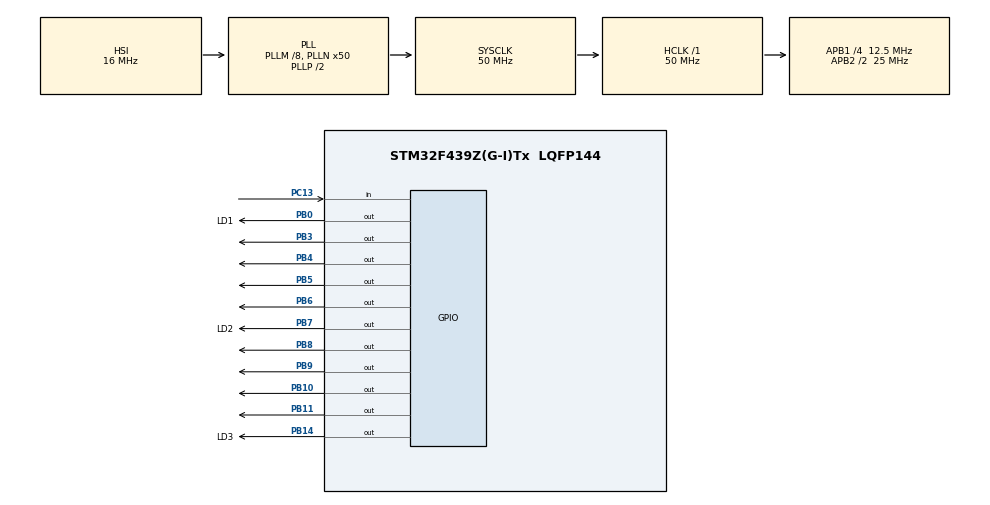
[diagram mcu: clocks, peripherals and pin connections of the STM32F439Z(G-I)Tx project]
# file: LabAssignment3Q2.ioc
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Mcu.Family=STM32F4
Mcu.Name=STM32F439Z(G-I)Tx
Mcu.Package=LQFP144
NVIC.PriorityGroup=NVIC_PRIORITYGROUP_4
PB0.GPIO_Label=LD1
PB0.Signal=GPIO_Output
PB10.Signal=GPIO_Output
PB11.Signal=GPIO_Output
PB14.GPIO_Label=LD3
PB14.Signal=GPIO_Output
PB3.Signal=GPIO_Output
PB4.Signal=GPIO_Output
PB5.Signal=GPIO_Output
PB6.Signal=GPIO_Output
PB7.GPIO_Label=LD2
PB7.Signal=GPIO_Output
PB8.Signal=GPIO_Output
PB9.Signal=GPIO_Output
PC13.GPIO_PuPd=GPIO_PULLDOWN
PC13.Signal=GPIO_Input
ProjectManager.HeapSize=0x200
ProjectManager.StackSize=0x400
ProjectManager.TargetToolchain=STM32CubeIDE
RCC.48MHZClocksFreq_Value=14285714.285714285
RCC.AHBFreq_Value=50000000
RCC.APB1CLKDivider=RCC_HCLK_DIV4
RCC.APB1Freq_Value=12500000
RCC.APB1TimFreq_Value=25000000
RCC.APB2CLKDivider=RCC_HCLK_DIV2
RCC.APB2Freq_Value=25000000
RCC.APB2TimCLKDivider=2
RCC.APB2TimFreq_Value=50000000
RCC.CortexFreq_Value=50000000
RCC.HCLKFreq_Value=50000000
RCC.HSE_VALUE=8000000
RCC.HSI_VALUE=16000000
RCC.LSE_VALUE=32768
RCC.PLLM=8
RCC.PLLMUL=RCC_PLL_MUL9
RCC.PLLN=50
RCC.PLLQ=7
RCC.PRESCALERUSB=RCC_USBCLKSOURCE_PLL_DIV1_5
RCC.SYSCLKFreq_VALUE=50000000
RCC.SYSCLKSource=RCC_SYSCLKSOURCE_PLLCLK
RCC.SYSCLKSourceVirtual=RCC_SYSCLKSOURCE_PLLCLK
RCC.USBFreq_Value=48000000
RCC.VCOOutputFreq_Value=100000000
board=NUCLEO-F439ZI

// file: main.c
/* USER CODE BEGIN Header */
/**
  ******************************************************************************
  * @file           : main.c
  * @brief          : Main program body
  ******************************************************************************
  * @attention
  *
  * Copyright (c) 2025 STMicroelectronics.
  * All rights reserved.
  *
  * This software is licensed under terms that can be found in the LICENSE file
  * in the root directory of this software component.
  * If no LICENSE file comes with this software, it is provided AS-IS.
  *
  ******************************************************************************
  */
/* USER CODE END Header */
#include "main.h"

void SystemClock_Config(void);
static void MX_GPIO_Init(void);

/* USER CODE BEGIN 0 */

// 3 = A, 4 = B, 5 = C, 6 = D, 8 = E, 9 = F, 10 = G, 11 = dp
void displayDigit(int value) // seven segment is common-anode (external gnd applied, rest all vcc).
											// if common cathode, reverse set and reset
{
    switch (value)
    {
    case 0:
        HAL_GPIO_WritePin(GPIOB, GPIO_PIN_3 | GPIO_PIN_4 | GPIO_PIN_5 | GPIO_PIN_6 | GPIO_PIN_8 |
        		GPIO_PIN_9, GPIO_PIN_RESET);
        HAL_GPIO_WritePin(GPIOB, GPIO_PIN_10 | GPIO_PIN_11, GPIO_PIN_SET);
        break;
    case 1:
        HAL_GPIO_WritePin(GPIOB, GPIO_PIN_4 | GPIO_PIN_5, GPIO_PIN_RESET);
        HAL_GPIO_WritePin(GPIOB,
                GPIO_PIN_3 | GPIO_PIN_6 | GPIO_PIN_8 | GPIO_PIN_9 | GPIO_PIN_10
                        | GPIO_PIN_11, GPIO_PIN_SET);
        break;
    case 2:
        HAL_GPIO_WritePin(GPIOB,
                GPIO_PIN_3 | GPIO_PIN_4 | GPIO_PIN_6 | GPIO_PIN_8 | GPIO_PIN_10,
                GPIO_PIN_RESET);
        HAL_GPIO_WritePin(GPIOB, GPIO_PIN_5 | GPIO_PIN_9 | GPIO_PIN_11,
                GPIO_PIN_SET);
        break;
    case 3:
        HAL_GPIO_WritePin(GPIOB,
                GPIO_PIN_4 | GPIO_PIN_5 | GPIO_PIN_6 | GPIO_PIN_3 | GPIO_PIN_10,
                GPIO_PIN_RESET);
        HAL_GPIO_WritePin(GPIOB, GPIO_PIN_8 | GPIO_PIN_9 | GPIO_PIN_11,
                GPIO_PIN_SET);
        break;
    case 4:
        HAL_GPIO_WritePin(GPIOB,
                GPIO_PIN_4 | GPIO_PIN_5 | GPIO_PIN_9 | GPIO_PIN_10,
                GPIO_PIN_RESET);
        HAL_GPIO_WritePin(GPIOB,
                GPIO_PIN_3 | GPIO_PIN_6 | GPIO_PIN_8 | GPIO_PIN_11,
                GPIO_PIN_SET);
        break;
    case 5:
        HAL_GPIO_WritePin(GPIOB,
                GPIO_PIN_3 | GPIO_PIN_5 | GPIO_PIN_6 | GPIO_PIN_9 | GPIO_PIN_10,
                GPIO_PIN_RESET);
        HAL_GPIO_WritePin(GPIOB, GPIO_PIN_4 | GPIO_PIN_8 | GPIO_PIN_11,
                GPIO_PIN_SET);
        break;
    case 6:
        HAL_GPIO_WritePin(GPIOB,
        		GPIO_PIN_3 | GPIO_PIN_5 | GPIO_PIN_6 | GPIO_PIN_8 | GPIO_PIN_9
                        | GPIO_PIN_10, GPIO_PIN_RESET);
        HAL_GPIO_WritePin(GPIOB, GPIO_PIN_4 | GPIO_PIN_11, GPIO_PIN_SET);
        break;
    case 7:
        HAL_GPIO_WritePin(GPIOB,
                GPIO_PIN_3 | GPIO_PIN_4 | GPIO_PIN_5 | GPIO_PIN_9,
                GPIO_PIN_RESET);
        HAL_GPIO_WritePin(GPIOB,
                GPIO_PIN_6 | GPIO_PIN_8 | GPIO_PIN_10 | GPIO_PIN_11,
                GPIO_PIN_SET);
        break;
    case 8:
        HAL_GPIO_WritePin(GPIOB,
                GPIO_PIN_3 | GPIO_PIN_4 | GPIO_PIN_5 | GPIO_PIN_6 | GPIO_PIN_8
                        | GPIO_PIN_9 | GPIO_PIN_10, GPIO_PIN_RESET);
        HAL_GPIO_WritePin(GPIOB, GPIO_PIN_11, GPIO_PIN_SET);
        break;
    case 9:
        HAL_GPIO_WritePin(GPIOB,
                GPIO_PIN_3 | GPIO_PIN_4 | GPIO_PIN_5 | GPIO_PIN_6 | GPIO_PIN_9
                        | GPIO_PIN_10, GPIO_PIN_RESET);
        HAL_GPIO_WritePin(GPIOB, GPIO_PIN_8 | GPIO_PIN_11, GPIO_PIN_SET);
        break;
    }
}
/* USER CODE END 0 */

int main(void)
{

  /* MCU Configuration--------------------------------------------------------*/

  /* Reset of all peripherals, Initializes the Flash interface and the Systick. */
  HAL_Init();

  /* Configure the system clock */
  SystemClock_Config();

  /* Initialize all configured peripherals */
  MX_GPIO_Init();
  /* USER CODE BEGIN 2 */
  int count = 0;       // Current count value
  int buttonPressed = 0; // To track if button is held down
  uint32_t pressStartTime = 0; // To track the time button was first pressed
  /* USER CODE END 2 */

  /* Infinite loop */
  while (1)
  {

    /* USER CODE BEGIN 3 */

	  // For choosing number using user button
//	  displayDigit(count);
//	  if (HAL_GPIO_ReadPin(GPIOC, GPIO_PIN_13)) { // because it is pull down,
	  //it reads as 0. when i press, it reads as 1
//		  HAL_Delay(200);
//		  count = (count+1) % 10;
//		  displayDigit(count);
//	  }

	  // For counting up from 0 to 9 cyclically
//	  displayDigit(1);
//	  HAL_Delay(1000);
//	  displayDigit(2);
//	  HAL_Delay(1000);
//	  displayDigit(3);
//	  HAL_Delay(1000);
//	  displayDigit(4);
//	  HAL_Delay(1000);
//	  displayDigit(5);
//	  HAL_Delay(1000);
//	  displayDigit(6);
//	  HAL_Delay(1000);
//	  displayDigit(7);
//	  HAL_Delay(1000);
//	  displayDigit(8);
//	  HAL_Delay(1000);
//	  displayDigit(9);
//	  HAL_Delay(1000);

	  // Main program
      displayDigit(count);

      if (HAL_GPIO_ReadPin(GPIOC, GPIO_PIN_13)) { // Button pressed
          if (!buttonPressed) {
              buttonPressed = 1;
              pressStartTime = HAL_GetTick(); // Record the time when button is pressed
          }
          else if ((HAL_GetTick() - pressStartTime) >= 3000) { // Button held for 3 seconds
              HAL_GPIO_WritePin(GPIOB, LD1_Pin | LD2_Pin | LD3_Pin, GPIO_PIN_SET);
              HAL_Delay(2000);
              HAL_GPIO_WritePin(GPIOB, LD1_Pin | LD2_Pin | LD3_Pin, GPIO_PIN_RESET);

              // start countdown timer
              for (int i = count; i >= 0; i--) {
                  displayDigit(i);
                  HAL_Delay(1000);
              }
              count = 0;
              buttonPressed = 0; // can choose number again after countdown.
              //just release button b4 it hits 0 else it will start counting from 1
          }
      }
      else { // Button released
          if ((buttonPressed && (HAL_GetTick() - pressStartTime) < 3000) &&
        		  (buttonPressed && (HAL_GetTick() - pressStartTime) > 200)) {
              buttonPressed = 0;
              count = (count + 1) % 10;
          }
      }
  }
  /* USER CODE END 3 */
}

void SystemClock_Config(void)
{
  RCC_OscInitTypeDef RCC_OscInitStruct = {0};
  RCC_ClkInitTypeDef RCC_ClkInitStruct = {0};

  /** Configure the main internal regulator output voltage
  */
  __HAL_RCC_PWR_CLK_ENABLE();
  __HAL_PWR_VOLTAGESCALING_CONFIG(PWR_REGULATOR_VOLTAGE_SCALE3);

  /** Initializes the RCC Oscillators according to the specified parameters
  * in the RCC_OscInitTypeDef structure.
  */
  RCC_OscInitStruct.OscillatorType = RCC_OSCILLATORTYPE_HSI;
  RCC_OscInitStruct.HSIState = RCC_HSI_ON;
  RCC_OscInitStruct.HSICalibrationValue = RCC_HSICALIBRATION_DEFAULT;
  RCC_OscInitStruct.PLL.PLLState = RCC_PLL_ON;
  RCC_OscInitStruct.PLL.PLLSource = RCC_PLLSOURCE_HSI;
  RCC_OscInitStruct.PLL.PLLM = 8;
  RCC_OscInitStruct.PLL.PLLN = 50;
  RCC_OscInitStruct.PLL.PLLP = RCC_PLLP_DIV2;
  RCC_OscInitStruct.PLL.PLLQ = 7;
  if (HAL_RCC_OscConfig(&RCC_OscInitStruct) != HAL_OK)
  {
    Error_Handler();
  }

  /** Initializes the CPU, AHB and APB buses clocks
  */
  RCC_ClkInitStruct.ClockType = RCC_CLOCKTYPE_HCLK|RCC_CLOCKTYPE_SYSCLK
                              |RCC_CLOCKTYPE_PCLK1|RCC_CLOCKTYPE_PCLK2;
  RCC_ClkInitStruct.SYSCLKSource = RCC_SYSCLKSOURCE_PLLCLK;
  RCC_ClkInitStruct.AHBCLKDivider = RCC_SYSCLK_DIV1;
  RCC_ClkInitStruct.APB1CLKDivider = RCC_HCLK_DIV4;
  RCC_ClkInitStruct.APB2CLKDivider = RCC_HCLK_DIV2;

  if (HAL_RCC_ClockConfig(&RCC_ClkInitStruct, FLASH_LATENCY_1) != HAL_OK)
  {
    Error_Handler();
  }
}

static void MX_GPIO_Init(void)
{
  GPIO_InitTypeDef GPIO_InitStruct = {0};

  /* GPIO Ports Clock Enable */
  __HAL_RCC_GPIOC_CLK_ENABLE();
  __HAL_RCC_GPIOB_CLK_ENABLE();

  /*Configure GPIO pin Output Level */
  HAL_GPIO_WritePin(GPIOB, LD1_Pin|GPIO_PIN_10|GPIO_PIN_11|LD3_Pin
                          |GPIO_PIN_3|GPIO_PIN_4|GPIO_PIN_5|GPIO_PIN_6
                          |LD2_Pin|GPIO_PIN_8|GPIO_PIN_9, GPIO_PIN_RESET);

  /*Configure GPIO pin : PC13 */
  GPIO_InitStruct.Pin = GPIO_PIN_13;
  GPIO_InitStruct.Mode = GPIO_MODE_INPUT;
  GPIO_InitStruct.Pull = GPIO_PULLDOWN;
  HAL_GPIO_Init(GPIOC, &GPIO_InitStruct);

  /*Configure GPIO pins : LD1_Pin PB10 PB11 LD3_Pin
                           PB3 PB4 PB5 PB6
                           LD2_Pin PB8 PB9 */
  GPIO_InitStruct.Pin = LD1_Pin|GPIO_PIN_10|GPIO_PIN_11|LD3_Pin
                          |GPIO_PIN_3|GPIO_PIN_4|GPIO_PIN_5|GPIO_PIN_6
                          |LD2_Pin|GPIO_PIN_8|GPIO_PIN_9;
  GPIO_InitStruct.Mode = GPIO_MODE_OUTPUT_PP;
  GPIO_InitStruct.Pull = GPIO_NOPULL;
  GPIO_InitStruct.Speed = GPIO_SPEED_FREQ_LOW;
  HAL_GPIO_Init(GPIOB, &GPIO_InitStruct);

}

void Error_Handler(void)
{
  __disable_irq();
  while (1)
  {
  }
}
